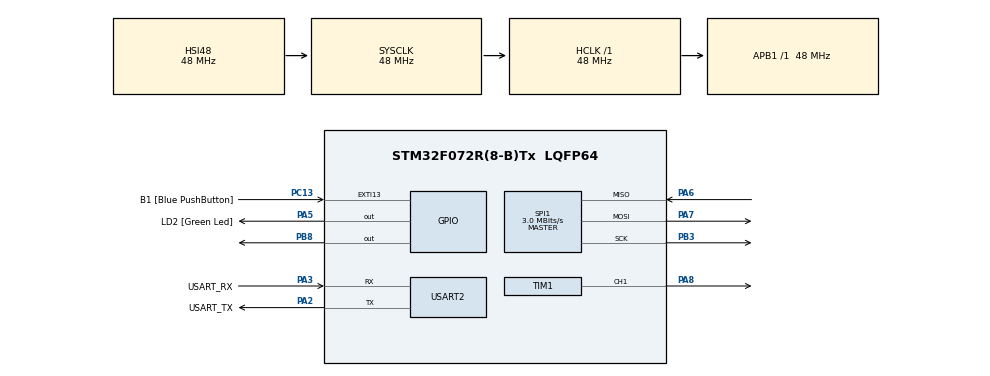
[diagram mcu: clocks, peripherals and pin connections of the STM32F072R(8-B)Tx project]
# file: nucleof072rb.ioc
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Mcu.Family=STM32F0
Mcu.Name=STM32F072R(8-B)Tx
Mcu.Package=LQFP64
PA13.GPIO_Label=TMS
PA13.Mode=Serial_Wire
PA13.Signal=SYS_SWDIO
PA14.GPIO_Label=TCK
PA14.Mode=Serial_Wire
PA14.Signal=SYS_SWCLK
PA2.GPIO_Label=USART_TX
PA2.GPIO_Mode=GPIO_MODE_AF_PP
PA2.GPIO_PuPd=GPIO_NOPULL
PA2.GPIO_Speed=GPIO_SPEED_FREQ_LOW
PA2.Mode=Asynchronous
PA2.Signal=USART2_TX
PA3.GPIO_Label=USART_RX
PA3.GPIO_Mode=GPIO_MODE_AF_PP
PA3.GPIO_PuPd=GPIO_NOPULL
PA3.GPIO_Speed=GPIO_SPEED_FREQ_LOW
PA3.Mode=Asynchronous
PA3.Signal=USART2_RX
PA5.GPIO_Label=LD2 [Green Led]
PA5.GPIO_Mode=GPIO_MODE_OUTPUT_PP
PA5.GPIO_PuPd=GPIO_NOPULL
PA5.GPIO_Speed=GPIO_SPEED_FREQ_LOW
PA5.Signal=GPIO_Output
PA6.Mode=Full_Duplex_Master
PA6.Signal=SPI1_MISO
PA7.Mode=Full_Duplex_Master
PA7.Signal=SPI1_MOSI
PA8.Signal=S_TIM1_CH1
PB3.Mode=Full_Duplex_Master
PB3.Signal=SPI1_SCK
PB8.Signal=GPIO_Output
PC13.GPIO_Label=B1 [Blue PushButton]
PC13.GPIO_ModeDefaultEXTI=GPIO_MODE_IT_FALLING
PC13.Signal=GPXTI13
PC14-OSC32_IN.Mode=LSE-External-Oscillator
PC14-OSC32_IN.Signal=RCC_OSC32_IN
PC15-OSC32_OUT.Mode=LSE-External-Oscillator
PC15-OSC32_OUT.Signal=RCC_OSC32_OUT
PF0-OSC_IN.Mode=HSE-External-Clock-Source
PF0-OSC_IN.Signal=RCC_OSC_IN
PF1-OSC_OUT.Signal=RCC_OSC_OUT
ProjectManager.HeapSize=0x200
ProjectManager.StackSize=0x400
ProjectManager.TargetToolchain=STM32CubeIDE
RCC.AHBFreq_Value=48000000
RCC.APB1Freq_Value=48000000
RCC.APB1TimFreq_Value=48000000
RCC.FLatency-AdvancedSettings=FLASH_LATENCY_1
RCC.HCLKFreq_Value=48000000
RCC.PLLDivider=RCC_PREDIV_DIV2
RCC.PLLMUL=RCC_PLL_MUL12
RCC.PREFETCH_ENABLE-AdvancedSettings=1
RCC.SYSCLKFreq_VALUE=48000000
RCC.SYSCLKSource=RCC_SYSCLKSOURCE_HSI48
SH.S_TIM1_CH1.0=TIM1_CH1,PWM Generation1 CH1
SPI1.BaudRatePrescaler=SPI_BAUDRATEPRESCALER_16
SPI1.CalculateBaudRate=3.0 MBits/s
SPI1.DataSize=SPI_DATASIZE_8BIT
SPI1.Direction=SPI_DIRECTION_2LINES
SPI1.Mode=SPI_MODE_MASTER
SPI1.VirtualType=VM_MASTER
TIM1.Channel-PWM\ Generation1\ CH1=TIM_CHANNEL_1
TIM1.ClockDivision=TIM_CLOCKDIVISION_DIV1
TIM1.Period=59999
TIM1.Prescaler=15
USART2.VirtualMode=VM_ASYNC
USART2.VirtualMode-Asynchronous=VM_ASYNC
VP_TIM1_VS_ClockSourceINT.Mode=Internal
board=NUCLEO-F072RB

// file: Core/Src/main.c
/* USER CODE BEGIN Header */
/**
  ******************************************************************************
  * @file           : main.c
  * @brief          : Main program body
  ******************************************************************************
  * @attention
  *
  * <h2><center>&copy; Copyright (c) 2021 STMicroelectronics.
  * All rights reserved.</center></h2>
  *
  * This software component is licensed by ST under BSD 3-Clause license,
  * the "License"; You may not use this file except in compliance with the
  * License. You may obtain a copy of the License at:
  *                        opensource.org/licenses/BSD-3-Clause
  *
  ******************************************************************************
  */
/* USER CODE END Header */
#include "main.h"
#include "spi.h"
#include "tim.h"
#include "usart.h"
#include "gpio.h"

/* USER CODE BEGIN Includes */
#include "stm32f0xx_hal_tim.h"
/* USER CODE END Includes */

/* USER CODE BEGIN PV */
const uint8_t MCP3004_SIG_CH0 = 0b10000000;
const uint8_t MCP3004_SIG_CH1 = 0b10010000;
const uint8_t MCP3004_SIG_CH2 = 0b10100000;
const uint8_t MCP3004_SIG_CH3 = 0b10110000;
const uint8_t MCP3004_DIF_CH0_INP_CH1_INN = 0b00000000;
const uint8_t MCP3004_DIF_CH0_INN_CH1_INP = 0b00001000;
const uint8_t MCP3004_DIF_CH2_INP_CH3_INN = 0b00010000;
const uint8_t MCP3004_DIF_CH2_INN_CH3_INP = 0b00011000;
/* USER CODE END PV */

void SystemClock_Config(void);

int main(void)
{

  /* MCU Configuration--------------------------------------------------------*/

  /* Reset of all peripherals, Initializes the Flash interface and the Systick. */
  HAL_Init();

  /* Configure the system clock */
  SystemClock_Config();

  /* Initialize all configured peripherals */
  MX_GPIO_Init();
  MX_USART2_UART_Init();
  MX_TIM1_Init();
  MX_SPI1_Init();
  /* USER CODE BEGIN 2 */
  //	  first byte: 1	   				  dummy bits (not cared)
  uint8_t tx[3] = {0x01, MCP3004_SIG_CH0, 0x00};
  uint8_t rx[3] = {0};

  const int AAR = __HAL_TIM_GET_AUTORELOAD(&htim1); //counter period
  const int min_duty_cycle_count = AAR * 0.05;
  const int max_duty_cycle_count = AAR * 0.10;

  HAL_GPIO_WritePin(GPIOB, GPIO_PIN_8, GPIO_PIN_SET);  //set CS pin high by default
  HAL_TIM_PWM_Start(&htim1, TIM_CHANNEL_1);
  /* USER CODE END 2 */

  /* Infinite loop */
  while (1)
  {
    /* USER CODE BEGIN 3 */
	//get ADC value
	rx[0] = 0;
	rx[1] = 0;
	rx[2] = 0;

	HAL_GPIO_WritePin(GPIOB, GPIO_PIN_8, GPIO_PIN_RESET);
	HAL_SPI_TransmitReceive(&hspi1, tx, rx, 3, 100);
	HAL_GPIO_WritePin(GPIOB, GPIO_PIN_8, GPIO_PIN_SET);

	//the first 8 bits, rx[0], are null bit
	//so keep B9 and B8 (the last 2 bits), shift it 8 bits to the left, and combine with bits of B7 to B0.
	uint16_t adc_value = ((rx[1] & 0x03) << 8) | rx[2];

	//map ADC value to the duty cycle range
	uint32_t ccr_value = min_duty_cycle_count + (adc_value * (max_duty_cycle_count - min_duty_cycle_count)) / 1023;

	__HAL_TIM_SET_COMPARE(&htim1, TIM_CHANNEL_1, ccr_value);

	HAL_Delay(10);
  }
  /* USER CODE END 3 */
}

void SystemClock_Config(void)
{
  RCC_OscInitTypeDef RCC_OscInitStruct = {0};
  RCC_ClkInitTypeDef RCC_ClkInitStruct = {0};
  RCC_PeriphCLKInitTypeDef PeriphClkInit = {0};

  /** Initializes the RCC Oscillators according to the specified parameters
  * in the RCC_OscInitTypeDef structure.
  */
  RCC_OscInitStruct.OscillatorType = RCC_OSCILLATORTYPE_HSI48;
  RCC_OscInitStruct.HSI48State = RCC_HSI48_ON;
  RCC_OscInitStruct.PLL.PLLState = RCC_PLL_NONE;
  if (HAL_RCC_OscConfig(&RCC_OscInitStruct) != HAL_OK)
  {
    Error_Handler();
  }

  /** Initializes the CPU, AHB and APB buses clocks
  */
  RCC_ClkInitStruct.ClockType = RCC_CLOCKTYPE_HCLK|RCC_CLOCKTYPE_SYSCLK
                              |RCC_CLOCKTYPE_PCLK1;
  RCC_ClkInitStruct.SYSCLKSource = RCC_SYSCLKSOURCE_HSI48;
  RCC_ClkInitStruct.AHBCLKDivider = RCC_SYSCLK_DIV1;
  RCC_ClkInitStruct.APB1CLKDivider = RCC_HCLK_DIV1;

  if (HAL_RCC_ClockConfig(&RCC_ClkInitStruct, FLASH_LATENCY_1) != HAL_OK)
  {
    Error_Handler();
  }
  PeriphClkInit.PeriphClockSelection = RCC_PERIPHCLK_USART2;
  PeriphClkInit.Usart2ClockSelection = RCC_USART2CLKSOURCE_PCLK1;
  if (HAL_RCCEx_PeriphCLKConfig(&PeriphClkInit) != HAL_OK)
  {
    Error_Handler();
  }
}

void Error_Handler(void)
{
  __disable_irq();
  while (1)
  {
  }
}
